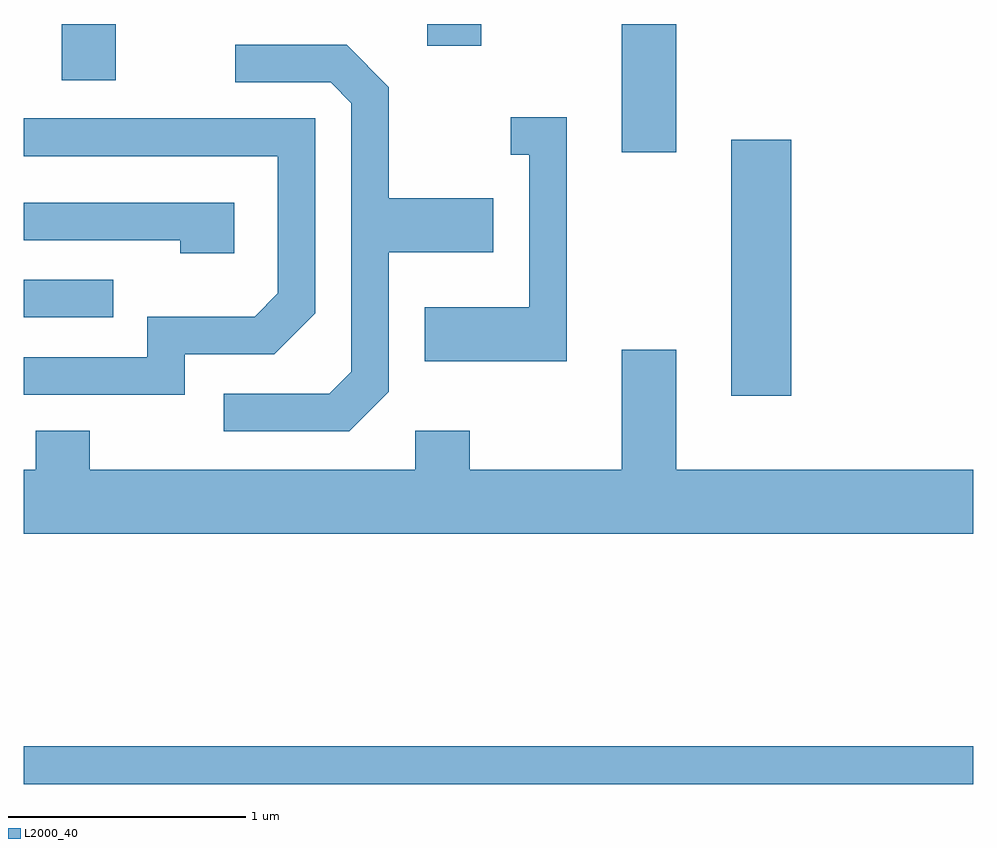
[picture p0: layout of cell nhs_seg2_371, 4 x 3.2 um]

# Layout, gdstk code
import gdstk
lib = gdstk.Library(unit=1e-6, precision=1e-09)
def R(c, l, rs):  # rectangles x0, y0, x1, y1
    for r in rs: c.add(gdstk.rectangle(r[:2], r[2:], *l))
def P(c, l, *ps):  # polygons
    for p in ps: c.add(gdstk.Polygon(p, *l))
L2000_40 = (2000, 40)

nhs_seg2_371 = lib.new_cell('nhs_seg2_371')
R(nhs_seg2_371, L2000_40, [(195.611,1040.601,199.611,1040.759), (198.591,1042.236,198.844,1043.314), (195.611,1042.566,195.988,1042.724), (198.131,1043.261,198.359,1043.802), (195.771,1043.566,195.999,1043.802), (197.311,1043.711,197.539,1043.802)])
P(nhs_seg2_371, L2000_40, [(197.149,1042.254),(197.149,1042.841),(197.589,1042.841),(197.589,1043.069),(197.149,1043.069),(197.149,1043.536),(196.972,1043.714),(196.503,1043.714),(196.503,1043.556),(196.904,1043.556),(196.991,1043.469),(196.991,1042.337),(196.899,1042.244),(196.453,1042.244),(196.453,1042.086),(196.982,1042.086)],
  [(197.899,1043.409),(197.663,1043.409),(197.663,1043.251),(197.741,1043.251),(197.741,1042.609),(197.301,1042.609),(197.301,1042.381),(197.899,1042.381)],
  [(196.289,1042.411),(196.667,1042.411),(196.839,1042.584),(196.839,1043.404),(195.611,1043.404),(195.611,1043.246),(196.681,1043.246),(196.681,1042.667),(196.584,1042.569),(196.131,1042.569),(196.131,1042.399),(195.611,1042.399),(195.611,1042.241),(196.289,1042.241)],
  [(196.499,1043.049),(195.611,1043.049),(195.611,1042.891),(196.271,1042.891),(196.271,1042.836),(196.499,1042.836)],
  [(199.611,1041.924),(198.359,1041.924),(198.359,1042.429),(198.131,1042.429),(198.131,1041.924),(197.489,1041.924),(197.489,1042.089),(197.261,1042.089),(197.261,1041.924),(195.889,1041.924),(195.889,1042.089),(195.661,1042.089),(195.661,1041.924),(195.611,1041.924),(195.611,1041.656),(199.611,1041.656)])

lib.write_gds('nhs_seg2_371.gds')
